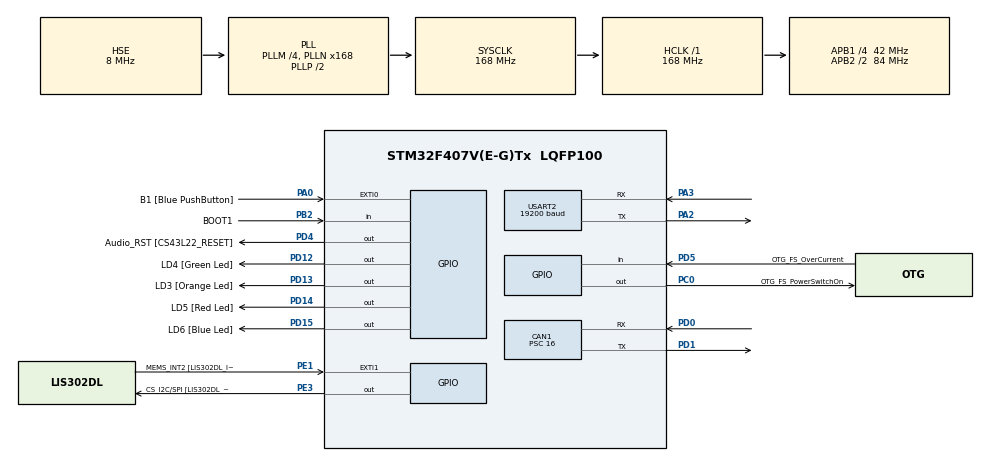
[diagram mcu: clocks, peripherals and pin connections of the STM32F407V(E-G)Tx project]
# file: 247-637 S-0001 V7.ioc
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CAN1.BS1=CAN_BS1_12TQ
CAN1.BS2=CAN_BS2_8TQ
CAN1.CalculateBaudRate=125000
CAN1.CalculateTimeBit=8000
CAN1.CalculateTimeQuantum=380.95238095238096
CAN1.Mode=CAN_MODE_LOOPBACK
CAN1.Prescaler=16
Mcu.Family=STM32F4
Mcu.Name=STM32F407V(E-G)Tx
Mcu.Package=LQFP100
NVIC.PriorityGroup=NVIC_PRIORITYGROUP_0
NVIC.TIM6_DAC_IRQn=true\:0\:0\:false\:false\:true\:true\:true\:true
PA0-WKUP.GPIO_Label=B1 [Blue PushButton]
PA0-WKUP.Signal=GPXTI0
PA10.GPIO_Label=OTG_FS_ID
PA10.GPIO_Mode=GPIO_MODE_AF_PP
PA10.GPIO_PuPd=GPIO_NOPULL
PA10.GPIO_Speed=GPIO_SPEED_FREQ_LOW
PA10.Signal=USB_OTG_FS_ID
PA11.GPIO_Label=OTG_FS_DM
PA11.GPIO_Mode=GPIO_MODE_AF_PP
PA11.GPIO_PuPd=GPIO_NOPULL
PA11.GPIO_Speed=GPIO_SPEED_FREQ_LOW
PA11.Signal=USB_OTG_FS_DM
PA12.GPIO_Label=OTG_FS_DP
PA12.GPIO_Mode=GPIO_MODE_AF_PP
PA12.GPIO_PuPd=GPIO_NOPULL
PA12.GPIO_Speed=GPIO_SPEED_FREQ_LOW
PA12.Signal=USB_OTG_FS_DP
PA13.GPIO_Label=SWDIO
PA13.Signal=SYS_JTMS-SWDIO
PA14.GPIO_Label=SWCLK
PA14.Signal=SYS_JTCK-SWCLK
PA2.Mode=Asynchronous
PA2.Signal=USART2_TX
PA3.Mode=Asynchronous
PA3.Signal=USART2_RX
PA4.GPIO_Label=I2S3_WS [CS43L22_LRCK]
PA4.GPIO_Mode=GPIO_MODE_AF_PP
PA4.GPIO_PuPd=GPIO_NOPULL
PA4.GPIO_Speed=GPIO_SPEED_FREQ_LOW
PA4.Signal=I2S3_WS
PA5.GPIO_Label=SPI1_SCK [LIS302DL_SCL/SPC]
PA5.GPIO_Mode=GPIO_MODE_AF_PP
PA5.GPIO_PuPd=GPIO_NOPULL
PA5.GPIO_Speed=GPIO_SPEED_FREQ_LOW
PA5.Signal=SPI1_SCK
PA6.GPIO_Label=SPI1_MISO [LIS302DL_SDO]
PA6.GPIO_Mode=GPIO_MODE_AF_PP
PA6.GPIO_PuPd=GPIO_NOPULL
PA6.GPIO_Speed=GPIO_SPEED_FREQ_LOW
PA6.Signal=SPI1_MISO
PA7.GPIO_Label=SPI1_MOSI [LIS302DL_SDA/SDI/SDO]
PA7.GPIO_Mode=GPIO_MODE_AF_PP
PA7.GPIO_PuPd=GPIO_NOPULL
PA7.GPIO_Speed=GPIO_SPEED_FREQ_LOW
PA7.Signal=SPI1_MOSI
PA9.GPIO_Label=VBUS_FS
PA9.GPIO_Mode=GPIO_MODE_INPUT
PA9.GPIO_PuPd=GPIO_NOPULL
PA9.Signal=USB_OTG_FS_VBUS
PB10.GPIO_Label=CLK_IN [MP45DT02_CLK]
PB10.GPIO_Mode=GPIO_MODE_AF_PP
PB10.GPIO_PuPd=GPIO_NOPULL
PB10.GPIO_Speed=GPIO_SPEED_FREQ_LOW
PB10.Signal=I2S2_CK
PB2.GPIO_Label=BOOT1
PB2.GPIO_Mode=GPIO_MODE_INPUT
PB2.GPIO_PuPd=GPIO_NOPULL
PB2.Signal=GPIO_Input
PB3.GPIO_Label=SWO
PB3.Signal=SYS_JTDO-SWO
PB6.GPIO_Label=Audio_SCL [CS43L22_SCL]
PB6.GPIO_Mode=GPIO_MODE_AF_OD
PB6.GPIO_PuPd=GPIO_NOPULL
PB6.GPIO_Speed=GPIO_SPEED_FREQ_LOW
PB6.Signal=I2C1_SCL
PB9.GPIO_Label=Audio_SDA [CS43L22_SDA]
PB9.GPIO_Mode=GPIO_MODE_AF_OD
PB9.GPIO_PuPd=GPIO_NOPULL
PB9.GPIO_Speed=GPIO_SPEED_FREQ_LOW
PB9.Signal=I2C1_SDA
PC0.GPIO_Label=OTG_FS_PowerSwitchOn
PC0.GPIO_PuPd=GPIO_NOPULL
PC0.GPIO_Speed=GPIO_SPEED_FREQ_LOW
PC0.PinState=GPIO_PIN_SET
PC0.Signal=GPIO_Output
PC10.GPIO_Label=I2S3_SCK [CS43L22_SCLK]
PC10.GPIO_Mode=GPIO_MODE_AF_PP
PC10.GPIO_PuPd=GPIO_NOPULL
PC10.GPIO_Speed=GPIO_SPEED_FREQ_LOW
PC10.Signal=I2S3_CK
PC12.GPIO_Label=I2S3_SD [CS43L22_SDIN]
PC12.GPIO_Mode=GPIO_MODE_AF_PP
PC12.GPIO_PuPd=GPIO_NOPULL
PC12.GPIO_Speed=GPIO_SPEED_FREQ_LOW
PC12.Signal=I2S3_SD
PC14-OSC32_IN.GPIO_Label=PC14-OSC32_IN
PC14-OSC32_IN.Signal=RCC_OSC32_IN
PC15-OSC32_OUT.GPIO_Label=PC15-OSC32_OUT
PC15-OSC32_OUT.Signal=RCC_OSC32_OUT
PC3.GPIO_Label=PDM_OUT [MP45DT02_DOUT]
PC3.GPIO_Mode=GPIO_MODE_AF_PP
PC3.GPIO_PuPd=GPIO_NOPULL
PC3.GPIO_Speed=GPIO_SPEED_FREQ_LOW
PC3.Signal=I2S2_SD
PC7.GPIO_Label=I2S3_MCK [CS43L22_MCLK]
PC7.GPIO_Mode=GPIO_MODE_AF_PP
PC7.GPIO_PuPd=GPIO_NOPULL
PC7.GPIO_Speed=GPIO_SPEED_FREQ_LOW
PC7.Signal=I2S3_MCK
PD0.Mode=CAN_Activate
PD0.Signal=CAN1_RX
PD1.Mode=CAN_Activate
PD1.Signal=CAN1_TX
PD12.GPIO_Label=LD4 [Green Led]
PD12.GPIO_PuPd=GPIO_NOPULL
PD12.GPIO_Speed=GPIO_SPEED_FREQ_LOW
PD12.Signal=GPIO_Output
PD13.GPIO_Label=LD3 [Orange Led]
PD13.GPIO_PuPd=GPIO_NOPULL
PD13.GPIO_Speed=GPIO_SPEED_FREQ_LOW
PD13.Signal=GPIO_Output
PD14.GPIO_Label=LD5 [Red Led]
PD14.GPIO_PuPd=GPIO_NOPULL
PD14.GPIO_Speed=GPIO_SPEED_FREQ_LOW
PD14.Signal=GPIO_Output
PD15.GPIO_Label=LD6 [Blue Led]
PD15.GPIO_PuPd=GPIO_NOPULL
PD15.GPIO_Speed=GPIO_SPEED_FREQ_LOW
PD15.Signal=GPIO_Output
PD4.GPIO_Label=Audio_RST [CS43L22_RESET]
PD4.GPIO_PuPd=GPIO_NOPULL
PD4.GPIO_Speed=GPIO_SPEED_FREQ_LOW
PD4.Signal=GPIO_Output
PD5.GPIO_Label=OTG_FS_OverCurrent
PD5.GPIO_Mode=GPIO_MODE_INPUT
PD5.GPIO_PuPd=GPIO_NOPULL
PD5.Signal=GPIO_Input
PE1.GPIO_Label=MEMS_INT2 [LIS302DL_INT2]
PE1.GPIO_ModeDefaultEXTI=GPIO_MODE_EVT_RISING
PE1.GPIO_PuPd=GPIO_NOPULL
PE1.Signal=GPXTI1
PE3.GPIO_Label=CS_I2C/SPI [LIS302DL_CS_I2C/SPI]
PE3.GPIO_PuPd=GPIO_NOPULL
PE3.GPIO_Speed=GPIO_SPEED_FREQ_LOW
PE3.Signal=GPIO_Output
PH0-OSC_IN.GPIO_Label=PH0-OSC_IN
PH0-OSC_IN.Mode=HSE-External-Oscillator
PH0-OSC_IN.Signal=RCC_OSC_IN
PH1-OSC_OUT.GPIO_Label=PH1-OSC_OUT
PH1-OSC_OUT.Mode=HSE-External-Oscillator
PH1-OSC_OUT.Signal=RCC_OSC_OUT
ProjectManager.HeapSize=0x200
ProjectManager.StackSize=0x400
ProjectManager.TargetToolchain=EWARM V7
RCC.48MHZClocksFreq_Value=48000000
RCC.AHBFreq_Value=168000000
RCC.APB1CLKDivider=RCC_HCLK_DIV4
RCC.APB1Freq_Value=42000000
RCC.APB1TimFreq_Value=84000000
RCC.APB2CLKDivider=RCC_HCLK_DIV2
RCC.APB2Freq_Value=84000000
RCC.APB2TimFreq_Value=168000000
RCC.CortexFreq_Value=168000000
RCC.HCLKFreq_Value=168000000
RCC.HSE_VALUE=8000000
RCC.HSI_VALUE=16000000
RCC.LSE_VALUE=32768
RCC.PLLM=4
RCC.PLLN=168
RCC.PLLQ=7
RCC.PLLSourceVirtual=RCC_PLLSOURCE_HSE
RCC.SYSCLKFreq_VALUE=168000000
RCC.SYSCLKSource=RCC_SYSCLKSOURCE_PLLCLK
RCC.VCOOutputFreq_Value=336000000
TIM6.Period=PILOTETIMER6UP_COMPTE_MAXIMAL
TIM6.TIM_MasterOutputTrigger=TIM_TRGO_ENABLE
USART2.BaudRate=19200
USART2.VirtualMode=VM_ASYNC
VP_TIM6_VS_ClockSourceINT.Mode=Enable_Timer
board=STM32F407G-DISC1

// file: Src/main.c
/* USER CODE BEGIN Header */
/**
  ******************************************************************************
  * @file           : main.c
  * @brief          : Main program body
  ******************************************************************************
  * @attention
  *
  * <h2><center>&copy; Copyright (c) 2019 STMicroelectronics.
  * All rights reserved.</center></h2>
  *
  * This software component is licensed by ST under BSD 3-Clause license,
  * the "License"; You may not use this file except in compliance with the
  * License. You may obtain a copy of the License at:
  *                        opensource.org/licenses/BSD-3-Clause
  *
  ******************************************************************************
  */
/* USER CODE END Header */
#include "main.h"

/* USER CODE BEGIN Includes */
//S-0010:
//Historique:
// 2019-10-27, Yves Roy, creation

//notes sur l'utilisation des timers.
// https://www.st.com/content/ccc/resource/technical/document/application_note/group0/91/01/84/3f/7c/67/41/3f/DM00236305/files/DM00236305.pdf/jcr:content/translations/en.DM00236305.pdf
//https://stm32f4-discovery.net/2014/05/stm32f4-stm32f429-discovery-pwm-tutorial/
//timer 6 sur APB1
//timer_tick_frequency = Timer_default_frequency / (prescaller_set + 1)
//default_frequency = 84MHz compte tenu des options choisies avec le "cube"
//TIM_Period = timer_tick_frequency / TIM_frequency - 1
//il faut s'assurer que le compte pour la periode est plus petit que 65536

#include "piloteTimer6Up.h"
#include "ProcessusPasserelle.h"
#include "piloteCAN1.h"
#include "piloteUSART2.h"
#include "serviceBaseDeTemps.h"
#include "serviceProtocole637.h"
#include "serviceProtocoleCAN.h"

/* USER CODE END Includes */

CAN_HandleTypeDef hcan1;

TIM_HandleTypeDef htim6;

UART_HandleTypeDef huart2;

/* USER CODE BEGIN PV */
/* Private variables ---------------------------------------------------------*/

/* USER CODE END PV */

void SystemClock_Config(void);
static void MX_GPIO_Init(void);
static void MX_USART2_UART_Init(void);
static void MX_TIM6_Init(void);
static void MX_CAN1_Init(void);
/* USER CODE BEGIN PFP */
/* Private function prototypes -----------------------------------------------*/
void main_initialiseAvantLeHAL(void);
void main_initialiseApresLeHAL(void);
/* USER CODE END PFP */

/* USER CODE BEGIN 0 */
void main_initialiseAvantLeHAL(void)
{
  piloteTimer6Up_initialise();
  //piloteCAN1_initialise(); //irait ici en temps normal... mais il y a un bug dans le cube
  piloteUSART2_initialise();
  serviceBaseDeTemps_initialise();
  serviceProtocole637_initialise();
  serviceProtocoleCAN_initialise();
  InitProcessusPasserelle();
}

void main_initialiseApresLeHAL(void)
{
  piloteCAN1_initialise();
  piloteTimer6Up_permetLesInterruptions();
}

void neFaitRien(void)
{
}
/* USER CODE END 0 */

int main(void)
{

  /* USER CODE BEGIN 1 */
  main_initialiseAvantLeHAL();
  /* USER CODE END 1 */

  /* MCU Configuration--------------------------------------------------------*/

  /* Reset of all peripherals, Initializes the Flash interface and the Systick. */
  HAL_Init();

  /* Configure the system clock */
  SystemClock_Config();

  /* Initialize all configured peripherals */
  MX_GPIO_Init();
  MX_USART2_UART_Init();
  MX_TIM6_Init();
  MX_CAN1_Init();
  /* USER CODE BEGIN 2 */
  main_initialiseApresLeHAL();

  /* USER CODE END 2 */

  /* Infinite loop */
  while (1)
  {

  }
}

void SystemClock_Config(void)
{
  RCC_OscInitTypeDef RCC_OscInitStruct = {0};
  RCC_ClkInitTypeDef RCC_ClkInitStruct = {0};

  /** Configure the main internal regulator output voltage
  */
  __HAL_RCC_PWR_CLK_ENABLE();
  __HAL_PWR_VOLTAGESCALING_CONFIG(PWR_REGULATOR_VOLTAGE_SCALE1);

  /** Initializes the RCC Oscillators according to the specified parameters
  * in the RCC_OscInitTypeDef structure.
  */
  RCC_OscInitStruct.OscillatorType = RCC_OSCILLATORTYPE_HSE;
  RCC_OscInitStruct.HSEState = RCC_HSE_ON;
  RCC_OscInitStruct.PLL.PLLState = RCC_PLL_ON;
  RCC_OscInitStruct.PLL.PLLSource = RCC_PLLSOURCE_HSE;
  RCC_OscInitStruct.PLL.PLLM = 4;
  RCC_OscInitStruct.PLL.PLLN = 168;
  RCC_OscInitStruct.PLL.PLLP = RCC_PLLP_DIV2;
  RCC_OscInitStruct.PLL.PLLQ = 7;
  if (HAL_RCC_OscConfig(&RCC_OscInitStruct) != HAL_OK)
  {
    Error_Handler();
  }

  /** Initializes the CPU, AHB and APB buses clocks
  */
  RCC_ClkInitStruct.ClockType = RCC_CLOCKTYPE_HCLK|RCC_CLOCKTYPE_SYSCLK
                              |RCC_CLOCKTYPE_PCLK1|RCC_CLOCKTYPE_PCLK2;
  RCC_ClkInitStruct.SYSCLKSource = RCC_SYSCLKSOURCE_PLLCLK;
  RCC_ClkInitStruct.AHBCLKDivider = RCC_SYSCLK_DIV1;
  RCC_ClkInitStruct.APB1CLKDivider = RCC_HCLK_DIV4;
  RCC_ClkInitStruct.APB2CLKDivider = RCC_HCLK_DIV2;

  if (HAL_RCC_ClockConfig(&RCC_ClkInitStruct, FLASH_LATENCY_5) != HAL_OK)
  {
    Error_Handler();
  }
}

static void MX_CAN1_Init(void)
{

  hcan1.Instance = CAN1;
  hcan1.Init.Prescaler = 16;
  hcan1.Init.Mode = CAN_MODE_NORMAL;
  hcan1.Init.SyncJumpWidth = CAN_SJW_1TQ;
  hcan1.Init.TimeSeg1 = CAN_BS1_12TQ;
  hcan1.Init.TimeSeg2 = CAN_BS2_8TQ;
  hcan1.Init.TimeTriggeredMode = DISABLE;
  hcan1.Init.AutoBusOff = DISABLE;
  hcan1.Init.AutoWakeUp = DISABLE;
  hcan1.Init.AutoRetransmission = DISABLE;
  hcan1.Init.ReceiveFifoLocked = DISABLE;
  hcan1.Init.TransmitFifoPriority = DISABLE;
  if (HAL_CAN_Init(&hcan1) != HAL_OK)
  {
    Error_Handler();
  }

}

static void MX_TIM6_Init(void)
{

  TIM_MasterConfigTypeDef sMasterConfig = {0};

  htim6.Instance = TIM6;
  htim6.Init.Prescaler = 0;
  htim6.Init.CounterMode = TIM_COUNTERMODE_UP;
  htim6.Init.Period = PILOTETIMER6UP_COMPTE_MAXIMAL;
  htim6.Init.AutoReloadPreload = TIM_AUTORELOAD_PRELOAD_DISABLE;
  if (HAL_TIM_Base_Init(&htim6) != HAL_OK)
  {
    Error_Handler();
  }
  sMasterConfig.MasterOutputTrigger = TIM_TRGO_ENABLE;
  sMasterConfig.MasterSlaveMode = TIM_MASTERSLAVEMODE_DISABLE;
  if (HAL_TIMEx_MasterConfigSynchronization(&htim6, &sMasterConfig) != HAL_OK)
  {
    Error_Handler();
  }

}

static void MX_USART2_UART_Init(void)
{

  huart2.Instance = USART2;
  huart2.Init.BaudRate = 19200;
  huart2.Init.WordLength = UART_WORDLENGTH_8B;
  huart2.Init.StopBits = UART_STOPBITS_1;
  huart2.Init.Parity = UART_PARITY_NONE;
  huart2.Init.Mode = UART_MODE_TX_RX;
  huart2.Init.HwFlowCtl = UART_HWCONTROL_NONE;
  huart2.Init.OverSampling = UART_OVERSAMPLING_16;
  if (HAL_UART_Init(&huart2) != HAL_OK)
  {
    Error_Handler();
  }

}

static void MX_GPIO_Init(void)
{
  GPIO_InitTypeDef GPIO_InitStruct = {0};

  /* GPIO Ports Clock Enable */
  __HAL_RCC_GPIOE_CLK_ENABLE();
  __HAL_RCC_GPIOC_CLK_ENABLE();
  __HAL_RCC_GPIOH_CLK_ENABLE();
  __HAL_RCC_GPIOA_CLK_ENABLE();
  __HAL_RCC_GPIOB_CLK_ENABLE();
  __HAL_RCC_GPIOD_CLK_ENABLE();

  /*Configure GPIO pin Output Level */
  HAL_GPIO_WritePin(CS_I2C_SPI_GPIO_Port, CS_I2C_SPI_Pin, GPIO_PIN_RESET);

  /*Configure GPIO pin Output Level */
  HAL_GPIO_WritePin(OTG_FS_PowerSwitchOn_GPIO_Port, OTG_FS_PowerSwitchOn_Pin, GPIO_PIN_SET);

  /*Configure GPIO pin Output Level */
  HAL_GPIO_WritePin(GPIOD, LD4_Pin|LD3_Pin|LD5_Pin|LD6_Pin
                          |Audio_RST_Pin, GPIO_PIN_RESET);

  /*Configure GPIO pin : CS_I2C_SPI_Pin */
  GPIO_InitStruct.Pin = CS_I2C_SPI_Pin;
  GPIO_InitStruct.Mode = GPIO_MODE_OUTPUT_PP;
  GPIO_InitStruct.Pull = GPIO_NOPULL;
  GPIO_InitStruct.Speed = GPIO_SPEED_FREQ_LOW;
  HAL_GPIO_Init(CS_I2C_SPI_GPIO_Port, &GPIO_InitStruct);

  /*Configure GPIO pin : OTG_FS_PowerSwitchOn_Pin */
  GPIO_InitStruct.Pin = OTG_FS_PowerSwitchOn_Pin;
  GPIO_InitStruct.Mode = GPIO_MODE_OUTPUT_PP;
  GPIO_InitStruct.Pull = GPIO_NOPULL;
  GPIO_InitStruct.Speed = GPIO_SPEED_FREQ_LOW;
  HAL_GPIO_Init(OTG_FS_PowerSwitchOn_GPIO_Port, &GPIO_InitStruct);

  /*Configure GPIO pin : PDM_OUT_Pin */
  GPIO_InitStruct.Pin = PDM_OUT_Pin;
  GPIO_InitStruct.Mode = GPIO_MODE_AF_PP;
  GPIO_InitStruct.Pull = GPIO_NOPULL;
  GPIO_InitStruct.Speed = GPIO_SPEED_FREQ_LOW;
  GPIO_InitStruct.Alternate = GPIO_AF5_SPI2;
  HAL_GPIO_Init(PDM_OUT_GPIO_Port, &GPIO_InitStruct);

  /*Configure GPIO pin : B1_Pin */
  GPIO_InitStruct.Pin = B1_Pin;
  GPIO_InitStruct.Mode = GPIO_MODE_IT_RISING;
  GPIO_InitStruct.Pull = GPIO_NOPULL;
  HAL_GPIO_Init(B1_GPIO_Port, &GPIO_InitStruct);

  /*Configure GPIO pin : I2S3_WS_Pin */
  GPIO_InitStruct.Pin = I2S3_WS_Pin;
  GPIO_InitStruct.Mode = GPIO_MODE_AF_PP;
  GPIO_InitStruct.Pull = GPIO_NOPULL;
  GPIO_InitStruct.Speed = GPIO_SPEED_FREQ_LOW;
  GPIO_InitStruct.Alternate = GPIO_AF6_SPI3;
  HAL_GPIO_Init(I2S3_WS_GPIO_Port, &GPIO_InitStruct);

  /*Configure GPIO pins : SPI1_SCK_Pin SPI1_MISO_Pin SPI1_MOSI_Pin */
  GPIO_InitStruct.Pin = SPI1_SCK_Pin|SPI1_MISO_Pin|SPI1_MOSI_Pin;
  GPIO_InitStruct.Mode = GPIO_MODE_AF_PP;
  GPIO_InitStruct.Pull = GPIO_NOPULL;
  GPIO_InitStruct.Speed = GPIO_SPEED_FREQ_LOW;
  GPIO_InitStruct.Alternate = GPIO_AF5_SPI1;
  HAL_GPIO_Init(GPIOA, &GPIO_InitStruct);

  /*Configure GPIO pin : BOOT1_Pin */
  GPIO_InitStruct.Pin = BOOT1_Pin;
  GPIO_InitStruct.Mode = GPIO_MODE_INPUT;
  GPIO_InitStruct.Pull = GPIO_NOPULL;
  HAL_GPIO_Init(BOOT1_GPIO_Port, &GPIO_InitStruct);

  /*Configure GPIO pin : CLK_IN_Pin */
  GPIO_InitStruct.Pin = CLK_IN_Pin;
  GPIO_InitStruct.Mode = GPIO_MODE_AF_PP;
  GPIO_InitStruct.Pull = GPIO_NOPULL;
  GPIO_InitStruct.Speed = GPIO_SPEED_FREQ_LOW;
  GPIO_InitStruct.Alternate = GPIO_AF5_SPI2;
  HAL_GPIO_Init(CLK_IN_GPIO_Port, &GPIO_InitStruct);

  /*Configure GPIO pins : LD4_Pin LD3_Pin LD5_Pin LD6_Pin
                           Audio_RST_Pin */
  GPIO_InitStruct.Pin = LD4_Pin|LD3_Pin|LD5_Pin|LD6_Pin
                          |Audio_RST_Pin;
  GPIO_InitStruct.Mode = GPIO_MODE_OUTPUT_PP;
  GPIO_InitStruct.Pull = GPIO_NOPULL;
  GPIO_InitStruct.Speed = GPIO_SPEED_FREQ_LOW;
  HAL_GPIO_Init(GPIOD, &GPIO_InitStruct);

  /*Configure GPIO pins : I2S3_MCK_Pin I2S3_SCK_Pin I2S3_SD_Pin */
  GPIO_InitStruct.Pin = I2S3_MCK_Pin|I2S3_SCK_Pin|I2S3_SD_Pin;
  GPIO_InitStruct.Mode = GPIO_MODE_AF_PP;
  GPIO_InitStruct.Pull = GPIO_NOPULL;
  GPIO_InitStruct.Speed = GPIO_SPEED_FREQ_LOW;
  GPIO_InitStruct.Alternate = GPIO_AF6_SPI3;
  HAL_GPIO_Init(GPIOC, &GPIO_InitStruct);

  /*Configure GPIO pin : VBUS_FS_Pin */
  GPIO_InitStruct.Pin = VBUS_FS_Pin;
  GPIO_InitStruct.Mode = GPIO_MODE_INPUT;
  GPIO_InitStruct.Pull = GPIO_NOPULL;
  HAL_GPIO_Init(VBUS_FS_GPIO_Port, &GPIO_InitStruct);

  /*Configure GPIO pins : OTG_FS_ID_Pin OTG_FS_DM_Pin OTG_FS_DP_Pin */
  GPIO_InitStruct.Pin = OTG_FS_ID_Pin|OTG_FS_DM_Pin|OTG_FS_DP_Pin;
  GPIO_InitStruct.Mode = GPIO_MODE_AF_PP;
  GPIO_InitStruct.Pull = GPIO_NOPULL;
  GPIO_InitStruct.Speed = GPIO_SPEED_FREQ_LOW;
  GPIO_InitStruct.Alternate = GPIO_AF10_OTG_FS;
  HAL_GPIO_Init(GPIOA, &GPIO_InitStruct);

  /*Configure GPIO pin : OTG_FS_OverCurrent_Pin */
  GPIO_InitStruct.Pin = OTG_FS_OverCurrent_Pin;
  GPIO_InitStruct.Mode = GPIO_MODE_INPUT;
  GPIO_InitStruct.Pull = GPIO_NOPULL;
  HAL_GPIO_Init(OTG_FS_OverCurrent_GPIO_Port, &GPIO_InitStruct);

  /*Configure GPIO pins : Audio_SCL_Pin Audio_SDA_Pin */
  GPIO_InitStruct.Pin = Audio_SCL_Pin|Audio_SDA_Pin;
  GPIO_InitStruct.Mode = GPIO_MODE_AF_OD;
  GPIO_InitStruct.Pull = GPIO_NOPULL;
  GPIO_InitStruct.Speed = GPIO_SPEED_FREQ_LOW;
  GPIO_InitStruct.Alternate = GPIO_AF4_I2C1;
  HAL_GPIO_Init(GPIOB, &GPIO_InitStruct);

  /*Configure GPIO pin : MEMS_INT2_Pin */
  GPIO_InitStruct.Pin = MEMS_INT2_Pin;
  GPIO_InitStruct.Mode = GPIO_MODE_EVT_RISING;
  GPIO_InitStruct.Pull = GPIO_NOPULL;
  HAL_GPIO_Init(MEMS_INT2_GPIO_Port, &GPIO_InitStruct);

}

void Error_Handler(void)
{
  while(1)
  {
  }
}
